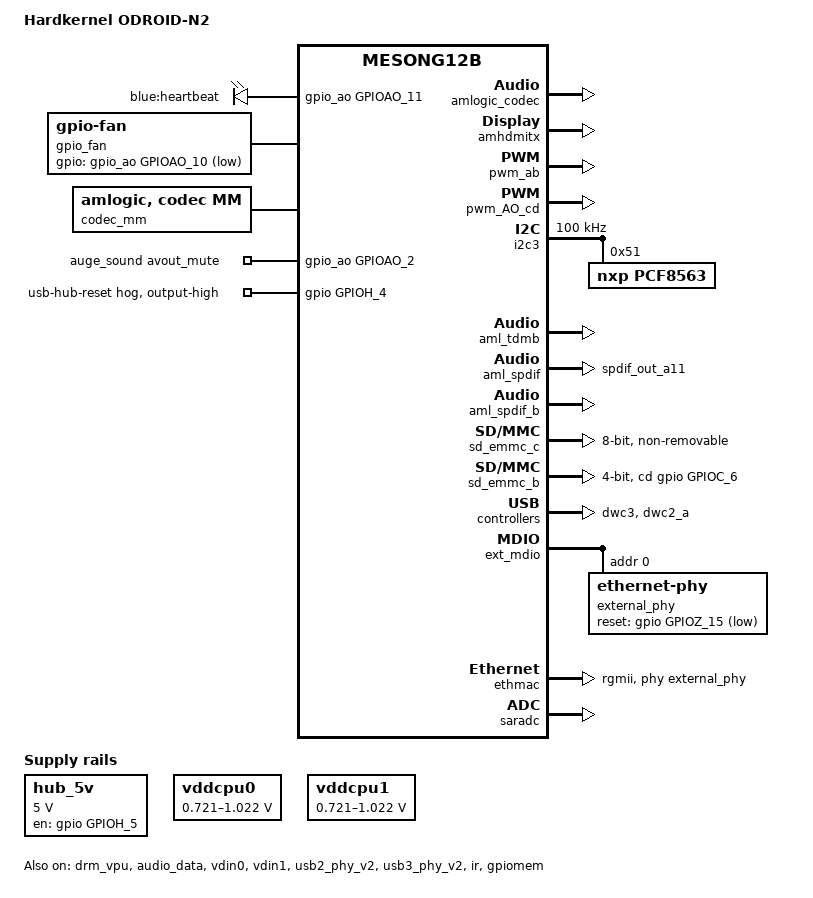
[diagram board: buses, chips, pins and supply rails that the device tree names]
// SPDX-License-Identifier: (GPL-2.0+ OR MIT)
/*
 * Copyright (C) 2018 Hardkernel Co,. Ltd. All rights reserved.
 */

/dts-v1/;

#include "mesong12b.dtsi"
#include "mesong12b_drm.dtsi"
#include "hardkernel_ir_map.dtsi"
#include "partition_mbox_dynamic_deadpool.dtsi"

/ {
	model = "Hardkernel ODROID-N2";
	amlogic-dt-id = "g12b_odroidn2";
	compatible = "hardkernel,odroid-n2", "amlogic,s922x", "amlogic, g12b";
	interrupt-parent = <&gic>;
	#address-cells = <2>;
	#size-cells = <2>;

	aliases {
		serial0 = &uart_AO;
		serial1 = &uart_A;
		serial2 = &uart_B;
		serial3 = &uart_C;
		serial4 = &uart_AO_B;
		i2c0 = &i2c2;
		i2c1 = &i2c3;
		i2c2 = &i2c0;
		i2c3 = &i2c1;
		i2c4 = &i2c_AO;
		tsensor0 = &p_tsensor;
		tsensor1 = &d_tsensor;
		spi0 = &spicc0;
		spi1 = &spicc1;
		mmc0 = &sd_emmc_c;
		mmc1 = &sd_emmc_b;
		ethernet0 = &ethmac;
	};

	reserved-memory {
		#address-cells = <2>;
		#size-cells = <2>;
		ranges;
		/* global autoconfigured region for contiguous allocations */
		ramoops@0x07400000 {
			compatible = "ramoops";
			reg = <0x0 0x07400000 0x0 0x00100000>;
			record-size = <0x20000>;
			console-size = <0x40000>;
			ftrace-size = <0x80000>;
			pmsg-size = <0x20000>;
		};

		dmc_reserved:linux,dmc_monitor {
			compatible = "amlogic,dmc_monitor-reserved";
			reg = <0x0 0x0 0x0 0x80000>;
		};

		debug_reserved:linux,iotrace {
			compatible = "amlogic, iotrace";
			reg = <0x0 0x04f00000 0x0 0x00100000>;
			io-size = <0x1b000>;
			sched-size = <0x2000>;
			irq-size = <0x1000>;
			smc-size = <0x1000>;
			misc-size = <0x1000>;
		};

		defendkey_reserved:linux,defendkey {
			compatible = "amlogic, defendkey";
			reg = <0x0 0x04e00000 0x0 0x100000>;
		};
		secmon_reserved:linux,secmon {
			compatible = "shared-dma-pool";
			/*reusable;*/
			no-map;
			size = <0x0 0x400000>;
			alignment = <0x0 0x400000>;
			alloc-ranges = <0x0 0x05000000 0x0 0x400000>;
		};
		logo_reserved:linux,meson-fb {
			compatible = "shared-dma-pool";
			reusable;
			reg = <0x0 0x3d800000 0x0 0x800000>;
		};
		ion_cma_reserved:linux,ion-dev {
			compatible = "shared-dma-pool";
			reusable;
			size = <0x0 0x0>;
			alignment = <0x0 0x400000>;
			no-kernel-map;
		};
		ion_fb_reserved:linux,ion-fb {
			compatible = "shared-dma-pool";
			reusable;
			size = <0x0 0x0>;
			alignment = <0x0 0x400000>;
		};
		dmaheap_cma_reserved:heap-gfx {
			compatible = "shared-dma-pool";
			reusable;
			size = <0x0 0x5800000>;
			alignment = <0x0 0x400000>;
		};
		dmaheap_fb_reserved:heap-fb {
			compatible = "shared-dma-pool";
			reusable;
			size = <0x0 0x3800000>;
			alignment = <0x0 0x400000>;
		};
		dmaheap_secure_reserved:heap-secure {
			compatible = "amlogic, heap-secure-mem";
			no-map;
			size = <0x0 0x0>;
			alignment = <0x0 0x400000>;
		};

		//di_reserved:linux,di {
			//compatible = "amlogic, di-mem";
			/* buffer_size = 3621952(yuv422 8bit) */
			/* 4179008(yuv422 10bit full pack mode) */
			/** 10x3621952=34.6M(0x23) support 8bit **/
			/** 10x4736064=45.2M(0x2e) support 12bit **/
			/** 10x4179008=40M(0x28) support 10bit **/
			//size = <0x0 0x2800000>;
			//no-map;
		//};
		/*di CMA pool */
		di_cma_reserved:linux,di_cma {
			compatible = "shared-dma-pool";
			reusable;
			/* buffer_size = 3621952(yuv422 8bit)
			 *  | 4736064(yuv422 10bit)
			 *  | 4074560(yuv422 10bit full pack mode)
			 * 10x3621952=34.6M(0x23) support 8bit
			 * 10x4736064=45.2M(0x2e) support 12bit
			 * 10x4074560=40M(0x28) support 10bit
			 */
			//size = <0x0 0x02800000>;
			alignment = <0x0 0x400000>;
		};
		/*  POST PROCESS MANAGER */
		ppmgr_reserved:linux,ppmgr {
			compatible = "shared-dma-pool";
			size = <0x0 0x0>;
		};
		codec_mm_cma:linux,codec_mm_cma {
			compatible = "shared-dma-pool";
			reusable;
			/* ion_codec_mm max can alloc size 80M*/
			size = <0x0 0x13400000>;
			alignment = <0x0 0x400000>;
			linux,contiguous-region;
			clear-map;
		};
		/* codec shared reserved */
		codec_mm_reserved:linux,codec_mm_reserved {
			compatible = "amlogic, codec-mm-reserved";
			size = <0x0 0x0>;
			alignment = <0x0 0x100000>;
			//no-map;
		};

		/*  vdin1 CMA pool */
		vdin1_cma_reserved:linux,vdin1_cma {
			compatible = "shared-dma-pool";
			reusable;
			/* up to 1920x1080 yuv422 8bit and 5 buffers
			 * 1920x1080x2x5 = 20 M
			 */
			size = <0x0 0x01400000>;
			alignment = <0x0 0x400000>;
		};
	};

	gpiomem {
		compatible = "amlogic, gpiomem";
		reg = <0x0 0xff634000 0x0 0x1000>;
		status = "okay";
	};

	gpioleds {
		compatible = "gpio-leds";
		status = "okay";

		blueled {
			label = "blue:heartbeat";
			gpios = <&gpio_ao GPIOAO_11 GPIO_ACTIVE_HIGH>;
			linux,default-trigger = "heartbeat";
		};
	};

	hub_5v: regulator-hub_5v {
		compatible = "regulator-fixed";
		regulator-name = "HUB_5V";
		regulator-min-microvolt = <5000000>;
		regulator-max-microvolt = <5000000>;
		gpio = <&gpio GPIOH_5 GPIO_ACTIVE_HIGH>;
		enable-active-high;
		startup-delay-us = <100000>;
		regulator-boot-on;
		regulator-always-on;
	};

	gpio_fan: gpio-fan {
		compatible = "gpio-fan";
		gpios = <&gpio_ao GPIOAO_10 GPIO_ACTIVE_LOW>;
		gpio-fan,speed-map = <0 0>, <5000 1>;
		#cooling-cells = <2>;
	};

	codec_mm {
		compatible = "amlogic, codec, mm";
		memory-region = <&codec_mm_cma &codec_mm_reserved>;
		dev_name = "codec_mm";
		random_access = <1>;
		status = "okay";
	};

	ppmgr {
		compatible = "amlogic, ppmgr";
		memory-region = <&ppmgr_reserved>;
		dev_name = "ppmgr";
		status = "okay";
	};

	deinterlace {
		compatible = "amlogic, deinterlace";
		status = "disable";
		/* 0:use reserved; 1:use cma; 2:use cma as reserved */
		flag_cma = <4>; //<1>;
		//memory-region = <&di_reserved>;
		memory-region = <&di_cma_reserved>;
		interrupts = <0 46 1
				0 40 1>;
		interrupt-names = "pre_irq", "post_irq";
		clocks = <&clkc CLKID_VPU_CLKB_TMP>,
			<&clkc CLKID_VPU_CLKB>;
		clock-names = "vpu_clkb",
			"vpu_mux";
		clock-range = <334 667>;
		/* buffer-size = <3621952>;(yuv422 8bit) */
		buffer-size = <4074560>;/*yuv422 fullpack*/
		/* reserve-iomap = "true"; */
		/* if enable nr10bit, set nr10bit-support to 1 */
		post-wr-support = <1>;
		nr10bit-support = <1>;
		nrds-enable = <1>;
		pps-enable = <1>;
	};
	multi-di {
		compatible = "amlogic, dim-g12b";
		status = "okay";
		/* 0:use reserved; 1:use cma; 2:use cma as reserved */
		flag_cma = <4>;	//<1>;
		//memory-region = <&di_reserved>;
		memory-region = <&di_cma_reserved>;
		interrupts = <0 46 1
				0 40 1>;
		interrupt-names = "pre_irq", "post_irq";
		clocks = <&clkc CLKID_VPU_CLKB_TMP>,
			<&clkc CLKID_VPU_CLKB>;
		clock-names = "vpu_clkb",
			"vpu_mux";
		clock-range = <334 667>;
		/* buffer-size = <3621952>;(yuv422 8bit) */
		buffer-size = <4074560>;/*yuv422 fullpack*/
		/* reserve-iomap = "true"; */
		/* if enable nr10bit, set nr10bit-support to 1 */
		post-wr-support = <1>;
		nr10bit-support = <1>;
		nrds-enable = <1>;
		pps-enable = <1>;
	};
	ionvideo {
		compatible = "amlogic, ionvideo";
		dev_name = "ionvideo";
		status = "okay";
	};
	amlvideo2_0 {
		compatible = "amlogic, amlvideo2";
		dev_name = "amlvideo2";
		status = "okay";
		amlvideo2_id = <0>;
		cma_mode = <1>;
	};
	amlvideo2_1 {
		compatible = "amlogic, amlvideo2";
		dev_name = "amlvideo2";
		status = "okay";
		amlvideo2_id = <1>;
		cma_mode = <1>;
	};

	unifykey{
		compatible = "amlogic,unifykey";
		status = "ok";
		unifykey-num = <18>;
		unifykey-index-0 = <&keysn_0>;
		unifykey-index-1 = <&keysn_1>;
		unifykey-index-2 = <&keysn_2>;
		unifykey-index-3 = <&keysn_3>;
		unifykey-index-4 = <&keysn_4>;
		unifykey-index-5 = <&keysn_5>;
		unifykey-index-6 = <&keysn_6>;
		unifykey-index-7 = <&keysn_7>;
		unifykey-index-8 = <&keysn_8>;
		unifykey-index-9 = <&keysn_9>;
		unifykey-index-10= <&keysn_10>;
		unifykey-index-11= <&keysn_11>;
		unifykey-index-12= <&keysn_12>;
		unifykey-index-13= <&keysn_13>;
		unifykey-index-14= <&keysn_14>;
		unifykey-index-15= <&keysn_15>;
		unifykey-index-16= <&keysn_16>;
		unifykey-index-17= <&keysn_17>;

		keysn_0: key_0{
			key-name = "usid";
			key-device = "normal";
			key-permit = "read","write","del";
		};
		keysn_1:key_1{
			key-name = "mac";
			key-device = "normal";
			key-permit = "read","write","del";
		};
		keysn_2:key_2{
			key-name = "hdcp";
			key-device = "secure";
			key-type = "sha1";
			key-permit = "read","write","del";
		};
		keysn_3:key_3{
			key-name = "secure_boot_set";
			key-device = "efuse";
			key-permit = "write";
		};
		keysn_4:key_4{
			key-name = "mac_bt";
			key-device = "normal";
			key-permit = "read","write","del";
			key-type  = "mac";
		};
		keysn_5:key_5{
			key-name = "mac_wifi";
			key-device = "normal";
			key-permit = "read","write","del";
			key-type = "mac";
		};
		keysn_6:key_6{
			key-name = "hdcp2_tx";
			key-device = "normal";
			key-permit = "read","write","del";
		};
		keysn_7:key_7{
			key-name = "hdcp2_rx";
			key-device = "normal";
			key-permit = "read","write","del";
		};
		keysn_8:key_8{
			key-name = "widevinekeybox";
			key-device = "secure";
			key-permit = "read","write","del";
		};
		keysn_9:key_9{
			key-name = "deviceid";
			key-device = "normal";
			key-permit = "read","write","del";
		};
		keysn_10:key_10{
			key-name = "hdcp22_fw_private";
			key-device = "secure";
			key-permit = "read","write","del";
		};
		keysn_11:key_11{
			key-name = "PlayReadykeybox25";
			key-device = "secure";
			key-permit = "read","write","del";
		};
		keysn_12:key_12{
			key-name = "prpubkeybox";// PlayReady
			key-device = "secure";
			key-permit = "read","write","del";
		};
		keysn_13:key_13{
			key-name = "prprivkeybox";// PlayReady
			key-device = "secure";
			key-permit = "read","write","del";
		};
		keysn_14:key_14{
			key-name = "attestationkeybox";
			key-device = "secure";
			key-permit = "read","write","del";
		};
		keysn_15:key_15{
			key-name = "netflix_mgkid";
			key-device = "secure";
			key-permit = "read","write","del";
		};
		keysn_16:key_16{
			key-name = "attestationdevidbox";
			key-device = "secure";
			key-permit = "read","write","del";
		};
		keysn_17:key_17{
			key-name = "oemkey";
			key-device = "normal";
			key-permit = "read","write","del";
		};
	};//End unifykey

	amlvecm {
		compatible = "amlogic, vecm";
		dev_name = "aml_vecm";
		status = "okay";
		gamma_en = <0>;/*1:enable ;0:disable*/
		wb_en = <0>;/*1:enable ;0:disable*/
		cm_en = <0>;/*1:enable ;0:disable*/
	};
	amdolby_vision {
		compatible = "amlogic, dolby_vision_g12a";
		dev_name = "aml_amdolby_vision_driver";
		status = "okay";
		tv_mode = <0>;/*1:enable ;0:disable*/
	};

	/* Audio Related start */
	dummy_codec:dummy{
		#sound-dai-cells = <0>;
		compatible = "amlogic, aml_dummy_codec";
		status = "okay";
	};
	amlogic_codec:t9015{
		#sound-dai-cells = <0>;
		compatible = "amlogic, aml_codec_T9015";
		reg = <0x0 0xFF632000 0x0 0x2000>;
		is_auge_used = <1>; /* meson or auge chipset used */
		tdmout_index = <1>;
		status = "okay";
	};
	auge_sound: auge_sound {
		compatible = "amlogic, auge-sound-card";
		aml-audio-card,name = "AML-AUGESOUND";

		avout_mute-gpios = <&gpio_ao GPIOAO_2 GPIO_ACTIVE_HIGH>;

		aml-audio-card,dai-link@0 {
			format = "i2s";
			mclk-fs = <256>;
			//continuous-clock;
			//bitclock-inversion;
			//frame-inversion;
			bitclock-master = <&aml_tdmb>;
			frame-master = <&aml_tdmb>;
			//bitclock-master = <&tdmbcodec>;
			//frame-master = <&tdmbcodec>;
			/* suffix-name, sync with android audio hal
			 * what's the dai link used for
			 */
			suffix-name = "alsaPORT-i2s";
			cpu {
				sound-dai = <&aml_tdmb>;
				dai-tdm-slot-tx-mask = <1 1>;
				dai-tdm-slot-rx-mask = <1 1>;
				dai-tdm-slot-num = <2>;
				dai-tdm-slot-width = <32>;
				system-clock-frequency = <12288000>;
			};
			tdmbcodec: codec {
				sound-dai = <&amlogic_codec>;
			};
		};

		aml-audio-card,dai-link@1 {
			mclk-fs = <128>;
			/* suffix-name, sync with android audio hal
			 * what's the dai link used for
			 */
			continuous-clock;
			suffix-name = "alsaPORT-spdif";
			cpu {
				sound-dai = <&aml_spdif>;
				system-clock-frequency = <6144000>;
			};
			codec {
				sound-dai = <&dummy_codec>;
			};
		};

		aml-audio-card,dai-link@2 {
			mclk-fs = <128>;
			continuous-clock;
			/* suffix-name, sync with android audio hal
			 * what's the dai link used for
			 */
			suffix-name = "alsaPORT-spdifb";
			cpu {
				sound-dai = <&aml_spdif_b>;
				system-clock-frequency = <6144000>;
			};
			codec {
				sound-dai = <&dummy_codec>;
			};
		};
	};
	audiolocker: locker {
		compatible = "amlogic, audiolocker";
		clocks = <&clkaudio CLKID_AUDIO_LOCKER_OUT
				&clkaudio CLKID_AUDIO_LOCKER_IN
				&clkaudio CLKID_AUDIO_MCLK_D
				&clkaudio CLKID_AUDIO_MCLK_E
				&clkc CLKID_MPLL1
				&clkc CLKID_MPLL2>;
		clock-names = "lock_out", "lock_in", "out_src",
					"in_src", "out_calc", "in_ref";
		interrupts = <GIC_SPI 1 IRQ_TYPE_EDGE_RISING>;
		interrupt-names = "irq";
		frequency = <49000000>; /* pll */
		dividor = <49>; /* locker's parent */
		status = "okay";
	};
	/* Audio Related end */

	cpu_opp_table0: cpu_opp_table0 {
		compatible = "operating-points-v2";
		opp-shared;

		opp00 {
			opp-hz = /bits/ 64 <100000000>;
			opp-microvolt = <731000>;
		};
		opp01 {
			opp-hz = /bits/ 64 <250000000>;
			opp-microvolt = <731000>;
		};
		opp02 {
			opp-hz = /bits/ 64 <500000000>;
			opp-microvolt = <731000>;
		};
		opp03 {
			opp-hz = /bits/ 64 <667000000>;
			opp-microvolt = <731000>;
		};
		opp04 {
			opp-hz = /bits/ 64 <1000000000>;
			opp-microvolt = <731000>;
		};
		opp05 {
			opp-hz = /bits/ 64 <1200000000>;
			opp-microvolt = <731000>;
		};
		opp06 {
			opp-hz = /bits/ 64 <1398000000>;
			opp-microvolt = <761000>;
		};
		opp07 {
			opp-hz = /bits/ 64 <1512000000>;
			opp-microvolt = <791000>;
		};
		opp08 {
			opp-hz = /bits/ 64 <1608000000>;
			opp-microvolt = <831000>;
		};
		opp09 {
			opp-hz = /bits/ 64 <1704000000>;
			opp-microvolt = <861000>;
		};
		opp10 {
			opp-hz = /bits/ 64 <1896000000>;
			opp-microvolt = <981000>;
		};
		opp11 {
			opp-hz = /bits/ 64 <1992000000>;
			opp-microvolt = <1001000>;
		};
	};

	cpu_opp_table1: cpu_opp_table1 {
		compatible = "operating-points-v2";
		opp-shared;

		opp00 {
			opp-hz = /bits/ 64 <100000000>;
			opp-microvolt = <751000>;
		};
		opp01 {
			opp-hz = /bits/ 64 <250000000>;
			opp-microvolt = <751000>;
		};
		opp02 {
			opp-hz = /bits/ 64 <500000000>;
			opp-microvolt = <751000>;
		};
		opp03 {
			opp-hz = /bits/ 64 <667000000>;
			opp-microvolt = <751000>;
		};
		opp04 {
			opp-hz = /bits/ 64 <1000000000>;
			opp-microvolt = <771000>;
		};
		opp05 {
			opp-hz = /bits/ 64 <1200000000>;
			opp-microvolt = <771000>;
		};
		opp06 {
			opp-hz = /bits/ 64 <1398000000>;
			opp-microvolt = <791000>;
		};
		opp07 {
			opp-hz = /bits/ 64 <1512000000>;
			opp-microvolt = <821000>;
		};
		opp08 {
			opp-hz = /bits/ 64 <1608000000>;
			opp-microvolt = <861000>;
		};
		opp09 {
			opp-hz = /bits/ 64 <1704000000>;
			opp-microvolt = <891000>;
		};
		opp10 {
			opp-hz = /bits/ 64 <1800000000>;
			opp-microvolt = <981000>;
		};
		opp11 {
			opp-hz = /bits/ 64 <1908000000>;
			opp-microvolt = <1022000>;
		};
		opp12 {
			opp-hz = /bits/ 64 <2004000000>;
			opp-microvolt = <1022000>;
		};
	};

	cpufreq-meson {
		compatible = "amlogic, cpufreq-meson";
		status = "okay";
	};
}; /* end of / */

&efusekey {
	keynum = <1>;
	/delete-property/ key1;
	/delete-property/ key2;
	/delete-property/ key3;
};

&key_0 {
	keyname = "uuid";
	offset = <0>;
	size = <32>;
};

&gpio {
	usb-hub-hog {
		gpio-hog;
		gpios = <GPIOH_4 GPIO_ACTIVE_HIGH>;
		output-high;
		line-name = "usb-hub-reset";
	};
};

&soc_thermal {
	trips {
		fan_0: trip-point@4 {
			temperature = <45000>;
			hysteresis = <5000>;
			type = "active";
		};
	};
	cooling-maps {
		fan_cooling_map0 {
			trip = <&fan_0>;
			cooling-device = <&gpio_fan THERMAL_NO_LIMIT
					  THERMAL_NO_LIMIT>;
		};
	};
};

&meson_fb {
	status = "disabled";
	display_size_default = <1920 1080 1920 2160 32>;
	mem_size = <0x00800000 0x1980000 0x100000 0x100000 0x800000>;
	logo_addr = "0x3d800000";
	mem_alloc = <0>;
	pxp_mode = <0>; /** 0:normal mode 1:pxp mode */
};

&amhdmitx {
		status = "okay";
};

&drm_vpu {
	status = "okay";
	logo_addr = "0x3d800000";
};

&pwm_ab {
		status = "okay";
	};

&pwm_AO_cd {
		status = "okay";
	};

&i2c2 {
	status = "disabled";
	pinctrl-names = "default";
	pinctrl-0 = <&i2c2_master_pins1>;
	clock-frequency = <400000>;
};

&i2c3 {
	status = "okay";
	pinctrl-names="default";
	pinctrl-0=<&i2c3_master_pins2>;
	clock-frequency = <100000>; /* default 100k */

	pcf8563: rtc@51 {
		compatible = "nxp,pcf8563";
		reg = <0x51>;
		#clock-cells = <0>;
	};
};

&spicc0 {
	status = "disabled";
	pinctrl-names = "default";
	pinctrl-0 = <&spicc0_pins_x>;
	cs-gpios = <&gpio GPIOX_10 GPIO_ACTIVE_LOW>,
		<&gpio GPIOA_4 GPIO_ACTIVE_LOW>;
};

&audiobus {
	aml_tdmb: tdmb {
		compatible = "amlogic, g12a-snd-tdmb";
		#sound-dai-cells = <0>;
		dai-tdm-lane-slot-mask-in = <0 1 0 0>;
		dai-tdm-lane-slot-mask-out = <1 0 0 0>;
		dai-tdm-clk-sel = <1>;
		clocks = <&clkaudio CLKID_AUDIO_MCLK_B
				&clkc CLKID_MPLL1
				&clkc CLKID_MPLL0
				&clkaudio CLKID_AUDIO_SPDIFOUT_CTRL>;
		clock-names = "mclk", "clk_srcpll",
			"samesource_srcpll", "samesource_clk";
		/*
		 * 0: tdmout_a;
		 * 1: tdmout_b;
		 * 2: tdmout_c;
		 * 3: spdifout;
		 * 4: spdifout_b;
		 */
		samesource_sel = <3>;
		start_clk_enable = <1>;
		clk_tuning_enable = <1>;
	};

	aml_spdif: spdif {
		compatible = "amlogic, g12a-snd-spdif-a";
		#sound-dai-cells = <0>;
		clocks = <&clkc CLKID_MPLL0
				&clkc CLKID_FCLK_DIV4
				&clkaudio CLKID_AUDIO_SPDIFIN
				&clkaudio CLKID_AUDIO_SPDIFOUT
				&clkaudio CLKID_AUDIO_SPDIFIN_CTRL
				&clkaudio CLKID_AUDIO_SPDIFOUT_CTRL>;
		clock-names = "sysclk", "fixed_clk", "gate_spdifin",
				"gate_spdifout", "clk_spdifin", "clk_spdifout";
		interrupts =
				<GIC_SPI 151 IRQ_TYPE_EDGE_RISING>;

		interrupt-names = "irq_spdifin";
		pinctrl-names = "spdif_pins";
		pinctrl-0 = <&spdifout>;
		status = "okay";
	};

	aml_spdif_b: spdif_b {
		compatible = "amlogic, g12a-snd-spdif-b";
		#sound-dai-cells = <0>;
		clocks = <&clkc CLKID_MPLL0 /*CLKID_HIFI_PLL*/
				&clkaudio CLKID_AUDIO_SPDIFOUTB
				&clkaudio CLKID_AUDIO_SPDIFOUTB_CTRL>;
		clock-names = "sysclk",
				"gate_spdifout", "clk_spdifout";
		status = "okay";
	};
}; /* end of audiobus */

&pinctrl_periphs {
	spdifout: spdifout {
		mux { /* GPIOA_11 */
			groups = "spdif_out_a11";
			function = "spdif_out";
		};
	};
}; /* end of pinctrl_periphs */

&irblaster {
	status = "disabled";
};

&audio_data {
	status = "okay";
};

/*if you want to use vdin just modify status to "ok"*/
&vdin0 {
	/*memory-region = <&vdin0_cma_reserved>;*/
	status = "okay";
	/* up to 1920x1080 yuv422 8bit and 5 buffers
	 * 1920x1080x2x5 = 20 M
	 */
	cma_size = <20>;
	/*vdin write mem color depth support:
	 *bit0:support 8bit
	 *bit1:support 9bit
	 *bit2:support 10bit
	 *bit3:support 12bit
	 *bit4:support yuv422 10bit full pack mode (from txl new add)
	 */
	tv_bit_mode = <0x1>;
};

&vdin1 {
	memory-region = <&vdin1_cma_reserved>;
	status = "okay";
	/*vdin write mem color depth support:
	 *bit0:support 8bit
	 *bit1:support 9bit
	 *bit2:support 10bit
	 *bit3:support 12bit
	 */
	tv_bit_mode = <1>;
};

&sd_emmc_c {
	status = "okay";
	pinctrl-0 = <&emmc_pins>, <&emmc_ds_pins>;
	pinctrl-1 = <&emmc_clk_gate_pins>;
	pinctrl-names = "default", "clk-gate";
	bus-width = <8>;
	cap-mmc-highspeed;
	max-frequency = <200000000>;
	non-removable;
	disable-wp;
	mmc-ddr-1_8v;
	mmc-hs200-1_8v;
	//mmc-hs400-1_8v;
	//mmc-pwrseq = <&emmc_pwrseq>;
	//vmmc-supply = <&vcc_3v3>;
	//vqmmc-supply = <&vddio_boot>;
};

&sd_emmc_b {
	//vmmc-supply = <&vddao3v3_reg>;
	//vqmmc-supply = <&vddio_c>;
	status = "okay";
	pinctrl-0 = <&sdcard_pins>;
	pinctrl-1 = <&sdcard_clk_gate_pins>;
	pinctrl-2 = <&sd_1bit_pins>;
	//pinctrl-3 = <&sd_to_ao_uart_clr_pins
	//	&sdcard_pins &ao_to_sd_uart_pins>;
	//pinctrl-4 = <&sd_to_ao_uart_clr_pins
	//	&sd_1bit_pins &ao_to_sd_uart_pins>;
	//pinctrl-5 = <&sdcard_pins &ao_uart_pins>;
	//pinctrl-6 = <&sd_to_ao_uart_clr_pins
	//	&ao_to_sd_uart_pins>;
	//pinctrl-7 = <&sdcard_pins &ao_uart_pins>;
	//pinctrl-8 = <&sd_to_ao_uart_clr_pins
	//	&ao_to_sd_uart_pins>;

	pinctrl-names = "sd_default",
				"clk-gate",
				"sd_1bit_pins";
	//			"sd_clk_cmd_uart_pins",
	//			"sd_1bit_uart_pins",
	//			"sd_to_ao_uart_pins",
	//			"ao_to_sd_uart_pins",
	//			"sd_to_ao_jtag_pins",
	//			"ao_to_sd_jtag_pins";
				bus-width = <4>;
				cap-sd-highspeed;
//      sd-uhs-sdr12;
//      sd-uhs-sdr25;
//      sd-uhs-sdr50;
//      sd-uhs-sdr104;
				max-frequency = <200000000>;
				disable-wp;
				dat1-gpios = <&gpio GPIOC_1 GPIO_ACTIVE_HIGH>;
				cd-gpios = <&gpio GPIOC_6 GPIO_ACTIVE_HIGH>;
				//vmmc-supply = <&vddao_3v3>;
				//vqmmc-supply = <&emmc_1v8>;
};

&sd_emmc_a {
	status = "disabled";
};

&dwc3 {
	status = "okay";
};

&usb2_phy_v2 {
	status = "okay";
	portnum = <2>;
};

&usb3_phy_v2 {
	status = "okay";
	portnum = <1>;
	otg = <1>;
	gpio-vbus-power = "GPIOH_6";
	gpios = <&gpio GPIOH_6 GPIO_ACTIVE_HIGH>;
};

&dwc2_a {
	status = "okay";
	/** 0: normal, 1: otg+dwc3 host only, 2: otg+dwc3 device only*/
	controller-type = <2>;
};

&ext_mdio {
	status = "okay";

	external_phy: ethernet-phy@0 {
		reg = <0>;
		max-speed = <1000>;
		reset-assert-us = <10000>;
		reset-deassert-us = <80000>;
		reset-gpios = <&gpio GPIOZ_15 (GPIO_ACTIVE_LOW | GPIO_OPEN_DRAIN)>;
	};
};

&ethmac {
	status = "okay";
	pinctrl-names = "default";
	pinctrl-0 = <&external_eth_pins>;
	phy-mode = "rgmii";
	phy-handle = <&external_phy>;
	amlogic,tx-delay-ns = <2>;
	rx-internal-delay-ps = <0>;
	mc_val = <0x1621>;
	internal_phy = <0>;
};

&pcie_A {
	status = "disabled";
};

&saradc {
	status = "okay";
};

&ir {
	status = "okay";
	pinctrl-0 = <&remote_pins>;
	pinctrl-names = "default";
	map = <&hk_ir_maps>;
	wakeup_map = <&hk_ir_wakeup_key>;
};

&vddcpu0 {
	status = "okay";
	pwms = <&pwm_AO_cd MESON_PWM_1 1250 0>;
	regulator-min-microvolt = <721000>;
	regulator-max-microvolt = <1022000>;
	max-duty-cycle = <1250>;
	voltage-table = <1022000 0>,
		<1011000 3>,
		<1001000 6>,
		<991000 10>,
		<981000 13>,
		<971000 16>,
		<961000 20>,
		<951000 23>,
		<941000 26>,
		<931000 30>,
		<921000 33>,
		<911000 36>,
		<901000 40>,
		<891000 43>,
		<881000 46>,
		<871000 50>,
		<861000 53>,
		<851000 56>,
		<841000 60>,
		<831000 63>,
		<821000 67>,
		<811000 70>,
		<801000 73>,
		<791000 76>,
		<781000 80>,
		<771000 83>,
		<761000 86>,
		<751000 90>,
		<741000 93>,
		<731000 96>,
		<721000 100>;
};

&vddcpu1 {
	status = "okay";
	pwms = <&pwm_ab MESON_PWM_0 1250 0>;
	regulator-min-microvolt = <721000>;
	regulator-max-microvolt = <1022000>;
	max-duty-cycle = <1250>;
	voltage-table = <1022000 0>,
		<1011000 3>,
		<1001000 6>,
		<991000 10>,
		<981000 13>,
		<971000 16>,
		<961000 20>,
		<951000 23>,
		<941000 26>,
		<931000 30>,
		<921000 33>,
		<911000 36>,
		<901000 40>,
		<891000 43>,
		<881000 46>,
		<871000 50>,
		<861000 53>,
		<851000 56>,
		<841000 60>,
		<831000 63>,
		<821000 67>,
		<811000 70>,
		<801000 73>,
		<791000 76>,
		<781000 80>,
		<771000 83>,
		<761000 86>,
		<751000 90>,
		<741000 93>,
		<731000 96>,
		<721000 100>;
};
